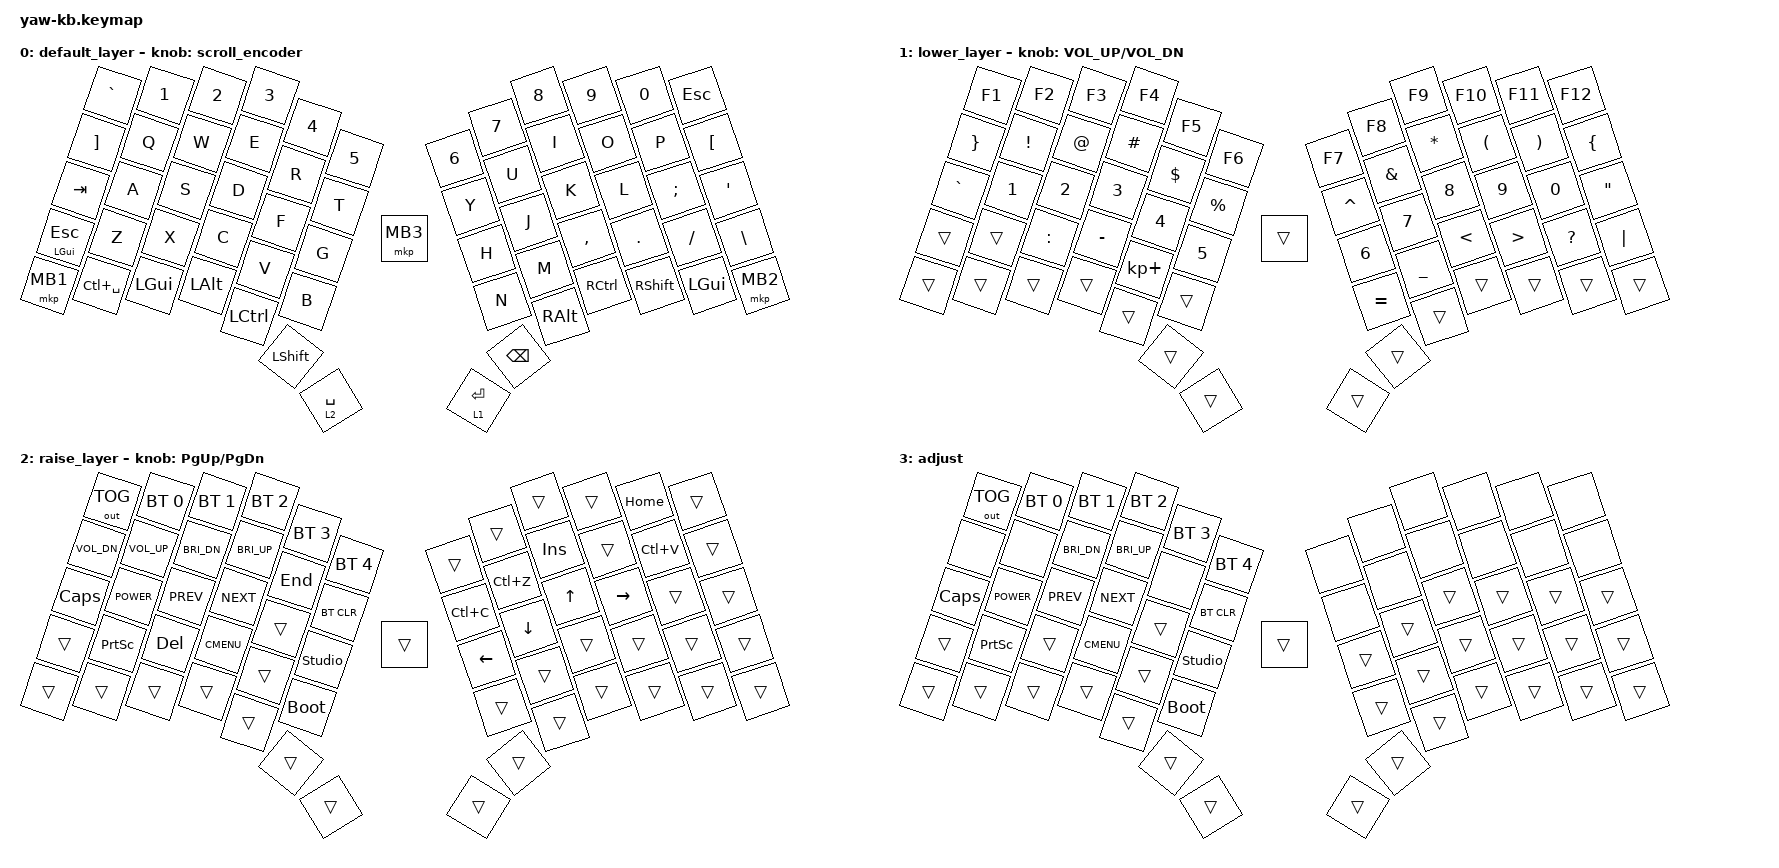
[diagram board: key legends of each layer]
/*
 * Copyright (c) 2020 The ZMK Contributors
 *
 * SPDX-License-Identifier: MIT
 */

#include <behaviors.dtsi>
#include <dt-bindings/zmk/keys.h>
#include <dt-bindings/zmk/bt.h>
#include <dt-bindings/zmk/outputs.h>
#include <dt-bindings/zmk/pointing.h>

/ {
    conditional_layers {
        compatible = "zmk,conditional-layers";
        tri_layer {
            if-layers = <1 2>; // 如果 lower_layer (1) 和 raise_layer (2) 都激活...
            then-layer = <3>;  // ...则激活 adjust layer (3)
        };
    };

    scroll_encoder: scroll_encoder {
        compatible = "zmk,behavior-sensor-rotate";
        #sensor-binding-cells = <0>;
        bindings = <&msc MOVE_Y(40)>, <&msc MOVE_Y(-40)>;

        tap-ms = <40>;
    };

    keymap {
        compatible = "zmk,keymap";

        default_layer { // Layer 0: 默认层
            //,-----------------------------------------------------------------------------------------------------------.
            //|  `    |  1  |  2  |  3   |  4   |  5    |                  |  6    |  7    |  8    |  9   |   0   |  ESC  |
            //|-------+-----+-----+------+------+-------+------------------+-------+-------+-------+------+-------+-------|
            //|  ]    |  Q  |  W  |  E   |  R   |  T    |                  |  Y    |  U    |  I    |  O   |   P   |   [   |
            //|-------+-----+-----+------+------+-------+------------------+-------+-------+-------+------+-------+-------|
            //| TAB   |  A  |  S  |  D   |  F   |  G    |   Encoder Mute   |  H    |  J    |  K    |  L   |   ;   |   '   |
            //|-------+-----+-----+------+------+-------+------------------+-------+-------+-------+------+-------+-------|
            //| G/ESC |  Z  |  X  |  C   |  V   |  B    |                  |  N    |  M    |  ,    |  .   |   /   |   \   |
            //|-------+-----+-----+------+------+-------+------------------+-------+_------+-------+------+-------+-------|
            //|       |     | GUI | ALT  | CTRL | SHIFT | RAISE  |  LOWER  | BSPC  | ALT   | CTRL |  SHIFT|       |       |
            // `----------------------------------------------------------------------------------------------------------'
            bindings = <
            &kp GRAVE    &kp N1        &kp N2   &kp N3    &kp N4    &kp N5                            &kp N6      &kp N7   &kp N8    &kp N9    &kp N0    &kp ESC
            &kp RBKT     &kp Q         &kp W    &kp E     &kp R     &kp T                             &kp Y       &kp U    &kp I     &kp O     &kp P     &kp LBKT
            &kp TAB      &kp A         &kp S    &kp D     &kp F     &kp G           &mkp MB3          &kp H       &kp J    &kp K     &kp L     &kp SEMI  &kp SQT
            &mt LGUI ESC &kp Z         &kp X    &kp C     &kp V     &kp B                             &kp N       &kp M    &kp COMMA &kp DOT   &kp FSLH  &kp BSLH
            &mkp MB1     &kp LC(SPACE) &kp LGUI &kp LALT  &kp LCTRL &kp LSHFT &lt 2 SPACE &lt 1 ENTER &kp BSPC    &kp RALT &kp RCTRL &kp RSHFT &kp LGUI  &mkp MB2
            >;

            /*
             * 传感器绑定定义:
             * 你的键盘只有一个编码器，所以我只保留了一组绑定。
             * 编码器旋转: 音量增/减
             */
            sensor-bindings = <&scroll_encoder>;
        };

        lower_layer { // Layer 1: Lower层
            //,----------------------------------------------------------------------------------------------------------.
            //| F1    | F2  | F3  | F4   | F5   | F6   |                  | F7   | F8    | F9    | F10   | F11   | F12   |
            //|-------+-----+-----+------+------+------+------------------+------+-------+-------+-------+-------+-------|
            //|  }    |  !  |  @  |  #   |  $   |  %   |                  |  ^   |  &    |  *    |  (    |   )   |   {   |
            //|-------+-----+-----+------+------+------+------------------+------+-------+-------+-------+-------+-------|
            //|  `    |  1  |  2  |  3   |  4   |  5   |      (trans)     |  6   |  7    |  8    |  9    |   0   |   "   |
            //|-------+-----+-----+------+------+------+------------------+------+-------+-------+-------+-------+-------|
            //|       |     |  :  |  -   |  +   |      |                  |  =   |  _    |  <    |  >    |   ?   |   |   |
            //|-------+-----+-----+------+------+------+------------------+------+-------+-------+-------+-------+-------|
            //|       |     |     |      |      |      |         |        |      |       |       |       |       |       |
            //`----------------------------------------------------------------------------------------------------------'
            bindings = <
            &kp F1    &kp F2    &kp F3    &kp F4    &kp F5      &kp F6                       &kp F7    &kp F8    &kp F9    &kp F10   &kp F11      &kp F12
            &kp RBRC  &kp EXCL  &kp AT    &kp HASH  &kp DLLR    &kp PRCNT                    &kp CARET &kp AMPS  &kp STAR  &kp LPAR  &kp RPAR     &kp LBRC
            &kp GRAVE &kp N1    &kp N2    &kp N3    &kp N4      &kp N5          &trans       &kp N6    &kp N7    &kp N8    &kp N9    &kp N0       &kp DQT
            &trans    &trans    &kp COLON &kp MINUS &kp KP_PLUS &trans                       &kp EQUAL &kp UNDER &kp LT    &kp GT    &kp QUESTION &kp PIPE
            &trans    &trans    &trans    &trans    &trans      &trans      &trans   &trans  &trans    &trans    &trans    &trans    &trans       &trans
            >;

            // 编码器旋转: 在此层仍然是音量控制
            sensor-bindings = <&inc_dec_kp C_VOL_UP C_VOL_DN>;
        };

        raise_layer { // Layer 2: Raise层
            //,-----------------------------------------------------------------------------------------------------------.
            //| OUT   | BT0 | BT1  | BT2  | BT3  | BT4  |                  |      |       |       |       | HOME  |       |
            //|-------+-----+------+------+------+------+------------------+------+-------+-------+-------+-------+-------|
            //| VOLDN |VOLUP| BRDN | BRUP | END  |      |                  | COPY | UNDO  |  INS  |       | PASTE |       |
            //|-------+-----+------+------+------+------+------------------+------+-------+-------+-------+-------+-------|
            //| CAPS  |POWER| PREV | NEXT |      |      |      (trans)     | LEFT | DOWN  |  UP   | RIGHT |       |       |
            //|-------+-----+------+------+------+------+------------------+------+-------+-------+-------+-------+-------|
            //|       |PSCRN| DEL  | MENU |      |      |                  |      |       |       |       |       |       |
            //|-------+-----+------+------+------+------+------------------+------+-------+-------+-------+-------+-------|
            //|       |     |      |      |      |      |         |        |      |       |       |       |       |       |
            //`-----------------------------------------------------------------------------------------------------------'
            bindings = <
            &out OUT_TOG &bt BT_SEL 0 &bt BT_SEL 1 &bt BT_SEL 2 &bt BT_SEL 3 &bt BT_SEL 4                 &trans    &trans    &trans    &trans    &kp HOME  &trans
            &kp C_VOL_DN &kp C_VOL_UP &kp C_BRI_DN &kp C_BRI_UP &kp END      &bt BT_CLR                   &kp LC(C) &kp LC(Z) &kp INS   &trans    &kp LC(V) &trans
            &kp CLCK     &kp C_POWER  &kp C_PREV   &kp C_NEXT   &trans       &studio_unlock   &trans      &kp LEFT  &kp DOWN  &kp UP    &kp RIGHT &trans    &trans
            &trans       &kp PSCRN    &kp DEL      &kp K_CMENU  &trans       &bootloader                  &trans    &trans    &trans    &trans    &trans    &trans
            &trans       &trans       &trans       &trans       &trans       &trans    &trans   &trans    &trans    &trans    &trans    &trans    &trans    &trans
            >;

            // 编码器旋转: 在此层改为翻页 Page Up / Page Down
            sensor-bindings = <&inc_dec_kp PG_UP PG_DN>;
        };


        adjust { // Layer 3: Adjust层 (当 Layer 1 和 2 同时激活时)
            //,------------------------------------------------------------------------------------------------------------.
            //| OUT   | BT0 | BT1  | BT2  | BT3  | BT4  |                  | RGB T | RGB + | RGB - |       |       |       |
            //|-------+-----+------+------+------+------+------------------+-------+-------+-------+-------+-------+-------|
            //|       |     | BRDN | BRUP |      |BT CLR|                  |RGB EF+|       |       |       |       |       |
            //|-------+-----+------+------+------+------+------------------+-------+-------+-------+-------+-------+-------|
            //| CAPS  |POWER| PREV | NEXT |      |      |      (trans)     |       |       |       |       |       |       |
            //|-------+-----+------+------+------+------+------------------+-------+-------+-------+-------+-------+-------|
            //|       |PSCRN|      | MENU |      |      |                  |       |       |       |       |       |       |
            //|-------+-----+------+------+------+------+------------------+-------+-------+-------+-------+-------+-------|
            //|       |     |      |      |      |      |         |        |       |       |       |       |       |       |
            //`------------------------------------------------------------------------------------------------------------'
            bindings = <
            &out OUT_TOG &bt BT_SEL 0 &bt BT_SEL 1 &bt BT_SEL 2 &bt BT_SEL 3 &bt BT_SEL 4                 &none              &none             &none           &none  &none  &none
            &none        &none        &kp C_BRI_DN &kp C_BRI_UP &none        &bt BT_CLR                   &none              &none             &none           &none  &none  &none
            &kp CLCK     &kp C_POWER  &kp C_PREV   &kp C_NEXT   &trans       &studio_unlock  &trans       &trans             &trans            &trans          &trans &trans &trans
            &trans       &kp PSCRN    &trans       &kp K_CMENU  &trans       &bootloader                  &trans             &trans            &trans          &trans &trans &trans
            &trans       &trans       &trans       &trans       &trans       &trans    &trans   &trans    &trans             &trans            &trans          &trans &trans &trans
            >;
        };
    };
};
